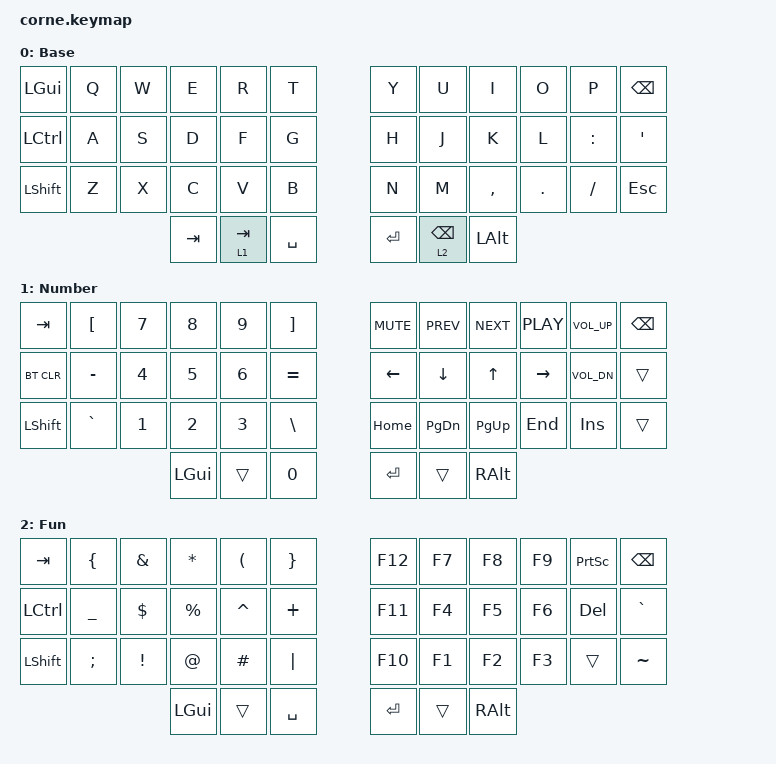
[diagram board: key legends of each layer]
/*
 * Copyright (c) 2020 The ZMK Contributors
 *
 * SPDX-License-Identifier: MIT
 */

#include <behaviors.dtsi>
#include <dt-bindings/zmk/keys.h>
#include <dt-bindings/zmk/bt.h>

/ {
        keymap {
                compatible = "zmk,keymap";
                default_layer {
                  display-name = "Base";
// -----------------------------------------------------------------------------------------
// |  TAB |  Q  |  W  |  E  |  R  |  T  |   |  Y  |  U   |  I  |  O  |  P  | BSPC |
// | CTRL |  A  |  S  |  D  |  F  |  G  |   |  H  |  J   |  K  |  L  |  ;  |  '   |
// | SHFT |  Z  |  X  |  C  |  V  |  B  |   |  N  |  M   |  ,  |  .  |  /  | ESC  |
//                    | GUI | LWR | SPC |   | ENT | RSE  | ALT |
                        bindings = <
		&kp LGUI &kp Q &kp W &kp E &kp R &kp T                                     &kp Y &kp U &kp I &kp O &kp P &kp BSPC
		&kp LCTRL	&kp A &kp S &kp D &kp F &kp G                                    &kp H &kp J &kp K &kp L &kp COLON &kp APOS
	  &kp LSHFT	&kp Z &kp X &kp C &kp V &kp B                                    &kp N &kp M &kp COMMA &kp DOT &kp FSLH &kp ESC   
      				 &kp TAB	&lt 1 TAB &kp SPACE                                    &kp RET &lt 2 BSPC &kp LALT
                        >;
                };
                lower_layer {
                  display-name = "Number";
// -----------------------------------------------------------------------------------------
// |  TAB |  1  |  2  |  3  |  4  |  5  |   |  6  |  7  |  8  |  9  |  0  | BSPC |
// | BTCLR| BT1 | BT2 | BT3 | BT4 | BT5 |   | LFT | DWN |  UP | RGT |     |      |
// | SHFT |     |     |     |     |     |   |     |     |     |     |     |      |
//                    | GUI |     | SPC |   | ENT |     | ALT |
                        bindings = <
   &kp TAB    &kp LBKT  &kp N7 &kp N8 &kp N9 &kp RBKT         &kp C_MUTE &kp C_PREV &kp C_NEXT &kp C_PLAY &kp C_VOL_UP &kp BSPC
   &bt BT_CLR &kp MINUS &kp N4 &kp N5 &kp N6 &kp EQUAL        &kp LEFT   &kp DOWN   &kp UP     &kp RIGHT  &kp C_VOL_DN &trans
   &kp LSHFT  &kp GRAVE &kp N1 &kp N2 &kp N3 &kp BSLH         &kp HOME   &kp PG_DN  &kp PG_UP  &kp END    &kp INS      &trans
                               &kp LGUI &trans &kp N0         &kp RET &trans &kp RALT
                        >;
                };

                raise_layer {
                  display-name = "Fun";
// -----------------------------------------------------------------------------------------
// |  TAB |  !  |  @  |  #  |  $  |  %  |   |  ^  |  &  |  *  |  (  |  )  | BSPC |
// | CTRL |     |     |     |     |     |   |  -  |  =  |  [  |  ]  |  \  |  `   |
// | SHFT |     |     |     |     |     |   |  _  |  +  |  {  |  }  | "|" |  ~   |
//                    | GUI |     | SPC |   | ENT |     | ALT |
                        bindings = <
   &kp TAB   &kp LBRC       &kp AMPS &kp ASTRK &kp LPAR  &kp RBRC       &kp F12 &kp F7 &kp F8 &kp F9 &kp PSCRN &kp BSPC
   &kp LCTRL &kp UNDERSCORE &kp DLLR &kp PRCNT &kp CARET &kp PLUS       &kp F11 &kp F4 &kp F5 &kp F6 &kp DEL   &kp GRAVE
   &kp LSHFT &kp SEMI       &kp EXCL &kp AT    &kp HASH  &kp PIPE       &kp F10 &kp F1 &kp F2 &kp F3 &trans    &kp TILDE
                             &kp LGUI &trans   &kp SPACE   &kp RET   &trans    &kp RALT
                        >;
                };
        };
};
